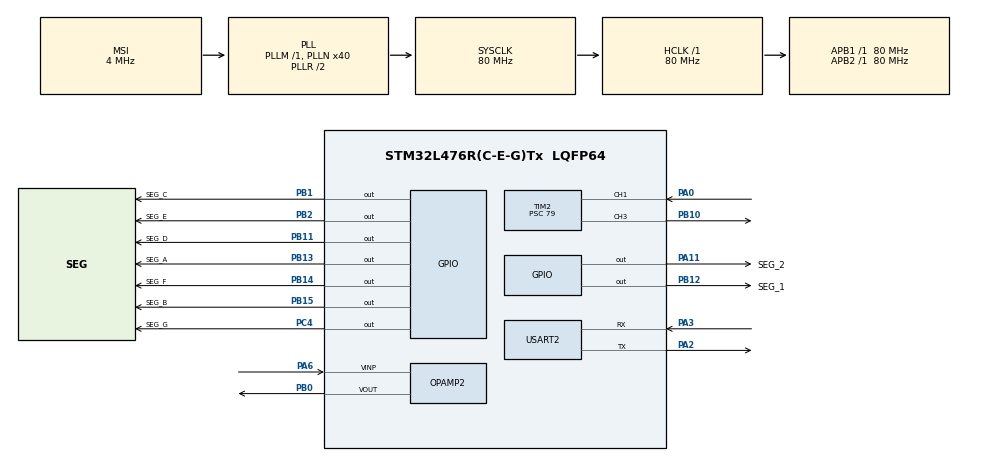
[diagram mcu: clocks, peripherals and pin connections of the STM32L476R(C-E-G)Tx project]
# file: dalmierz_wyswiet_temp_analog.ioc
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ADC1.Channel-2\#ChannelRegularConversion=ADC_CHANNEL_15
ADC1.ContinuousConvMode=ENABLE
ADC1.NbrOfConversionFlag=1
ADC1.OffsetNumber-2\#ChannelRegularConversion=ADC_OFFSET_NONE
ADC1.Overrun=ADC_OVR_DATA_OVERWRITTEN
ADC1.Rank-2\#ChannelRegularConversion=1
ADC1.SamplingTime-2\#ChannelRegularConversion=ADC_SAMPLETIME_640CYCLES_5
ADC1.master=1
Mcu.Family=STM32L4
Mcu.Name=STM32L476R(C-E-G)Tx
Mcu.Package=LQFP64
NVIC.PriorityGroup=NVIC_PRIORITYGROUP_4
NVIC.TIM2_IRQn=true\:10\:0\:true\:false\:true\:true\:true\:true
NVIC.TIM6_DAC_IRQn=true\:10\:0\:true\:false\:true\:true\:true\:true
OPAMP2.PgaGain=OPAMP_PGA_GAIN_4
OPAMP2.PowerSupplyRange=OPAMP_POWERSUPPLY_HIGH
PA0.Signal=S_TIM2_CH1
PA11.GPIO_Label=SEG_2
PA11.PinState=GPIO_PIN_SET
PA11.Signal=GPIO_Output
PA13\ (JTMS-SWDIO).Mode=Serial_Wire
PA13\ (JTMS-SWDIO).Signal=SYS_JTMS-SWDIO
PA14\ (JTCK-SWCLK).Mode=Serial_Wire
PA14\ (JTCK-SWCLK).Signal=SYS_JTCK-SWCLK
PA2.Mode=Asynchronous
PA2.Signal=USART2_TX
PA3.Mode=Asynchronous
PA3.Signal=USART2_RX
PA6.Mode=PGA Not Connected
PA6.Signal=OPAMP2_VINP
PB0.Signal=SharedAnalog_PB0
PB1.GPIO_Label=SEG_C
PB1.Signal=GPIO_Output
PB10.Signal=S_TIM2_CH3
PB11.GPIO_Label=SEG_D
PB11.Signal=GPIO_Output
PB12.GPIO_Label=SEG_1
PB12.PinState=GPIO_PIN_SET
PB12.Signal=GPIO_Output
PB13.GPIO_Label=SEG_A
PB13.Signal=GPIO_Output
PB14.GPIO_Label=SEG_F
PB14.Signal=GPIO_Output
PB15.GPIO_Label=SEG_B
PB15.Signal=GPIO_Output
PB2.GPIO_Label=SEG_E
PB2.Signal=GPIO_Output
PC4.GPIO_Label=SEG_G
PC4.Signal=GPIO_Output
ProjectManager.HeapSize=0x200
ProjectManager.StackSize=0x400
ProjectManager.TargetToolchain=STM32CubeIDE
RCC.ADCFreq_Value=32000000
RCC.AHBFreq_Value=80000000
RCC.APB1Freq_Value=80000000
RCC.APB1TimFreq_Value=80000000
RCC.APB2Freq_Value=80000000
RCC.APB2TimFreq_Value=80000000
RCC.CortexFreq_Value=80000000
RCC.HCLKFreq_Value=80000000
RCC.HSE_VALUE=8000000
RCC.HSI_VALUE=16000000
RCC.LSE_VALUE=32768
RCC.MSI_VALUE=4000000
RCC.PLLN=40
RCC.PLLSAI1N=16
RCC.SYSCLKFreq_VALUE=80000000
RCC.SYSCLKSource=RCC_SYSCLKSOURCE_PLLCLK
RCC.USBFreq_Value=32000000
RCC.VCOOutputFreq_Value=160000000
SH.S_TIM2_CH1.0=TIM2_CH1,Input_Capture1_from_TI1
SH.S_TIM2_CH3.0=TIM2_CH3,PWM Generation3 CH3
SH.SharedAnalog_PB0.0=ADC1_IN15
SH.SharedAnalog_PB0.1=OPAMP2_VOUT,PGA Not Connected
TIM2.Channel-Input_Capture1_from_TI1=TIM_CHANNEL_1
TIM2.Channel-Input_Capture2_from_TI1_63=TIM_CHANNEL_2
TIM2.Channel-PWM\ Generation3\ CH3=TIM_CHANNEL_3
TIM2.ICPolarity_CH1=TIM_INPUTCHANNELPOLARITY_RISING
TIM2.ICPolarity_CH2=TIM_INPUTCHANNELPOLARITY_FALLING
TIM2.Period=99999
TIM2.Prescaler=79
TIM2.Pulse-PWM\ Generation3\ CH3=10
TIM6.Period=99
TIM6.Prescaler=7999
USART2.VirtualMode-Asynchronous=VM_ASYNC
VP_ADC1_OPAMP2_OUT.Mode=IN15-OPAMP2-Single-Ended
VP_TIM2_VS_ClockSourceINT.Mode=Internal
VP_TIM2_VS_indirect_ch1.Mode=Input_Capture2_from_TI1_63
VP_TIM6_VS_ClockSourceINT.Mode=Enable_Timer
board=custom

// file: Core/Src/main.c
/* USER CODE BEGIN Header */
/**
  ******************************************************************************
  * @file           : main.c
  * @brief          : Main program body
  ******************************************************************************
  * @attention
  *
  * Copyright (c) 2024 STMicroelectronics.
  * All rights reserved.
  *
  * This software is licensed under terms that can be found in the LICENSE file
  * in the root directory of this software component.
  * If no LICENSE file comes with this software, it is provided AS-IS.
  *
  ******************************************************************************
  */
/* USER CODE END Header */
#include "main.h"
#include "adc.h"
#include "opamp.h"
#include "tim.h"
#include "usart.h"
#include "gpio.h"

/* USER CODE BEGIN Includes */
#include <stdio.h>

/* USER CODE END Includes */

void SystemClock_Config(void);

/* USER CODE BEGIN 0 */
static float calc_sound_speed(void)
{
	uint32_t adc_value = HAL_ADC_GetValue(&hadc1);
	float temp = adc_value * 330.0f / 4096.0f / 4.0f; //dzielenie przez 4 bo 4x od wzmacniacza
	printf("ADC = %lu, T = %.1f C, speed = %.1f m/s\n", adc_value, temp, 331.8f + 0.6f * temp);
	return 331.8f + 0.6f * temp;
}

int __io_putchar(int ch)
{
  if (ch == '\n') {
    __io_putchar('\r');
  }

  HAL_UART_Transmit(&huart2, (uint8_t*)&ch, 1, HAL_MAX_DELAY);

  return 1;
}

void HAL_TIM_PeriodElapsedCallback(TIM_HandleTypeDef *htim)
{
	if (htim == &htim6) {
		seg7_update();
	} else if (htim == &htim2) {
		uint32_t start = HAL_TIM_ReadCapturedValue(&htim2, TIM_CHANNEL_1);
		uint32_t stop = HAL_TIM_ReadCapturedValue(&htim2, TIM_CHANNEL_2);
		uint16_t distanse = 0;
		//seg7_show((stop - start) / 58); //58 dla prekości dzwięku w temperaturze pokojowej
		distanse = (stop - start) * calc_sound_speed() / 20000.0f;
		seg7_show(distanse);

	}
}

/* USER CODE END 0 */

int main(void)
{

  /* MCU Configuration--------------------------------------------------------*/

  /* Reset of all peripherals, Initializes the Flash interface and the Systick. */
  HAL_Init();

  /* Configure the system clock */
  SystemClock_Config();

  /* Initialize all configured peripherals */
  MX_GPIO_Init();
  MX_USART2_UART_Init();
  MX_TIM2_Init();
  MX_TIM6_Init();
  MX_OPAMP2_Init();
  MX_ADC1_Init();

  /* Infinite loop */
  /* USER CODE BEGIN WHILE */

  //czujnik ciśnienia
  /*
  HAL_TIM_IC_Start(&htim2, TIM_CHANNEL_1);
  HAL_TIM_IC_Start(&htim2, TIM_CHANNEL_2);
  HAL_TIM_PWM_Start(&htim2, TIM_CHANNEL_3);
  HAL_Delay(1000);

  while (1)
  {
  	uint32_t start = HAL_TIM_ReadCapturedValue(&htim2, TIM_CHANNEL_1);
  	uint32_t stop = HAL_TIM_ReadCapturedValue(&htim2, TIM_CHANNEL_2);
  	printf("%.1f cm\n", (stop - start) / 58.0f);
  	//58 odpowiada prędkości dzwięku w 344,8 m/s w powietrzu w temperaturze pokojowej (ok. 20 stopni C)
  	HAL_Delay(1000);
  	*/
  //HAL_TIM_Base_Start_IT(&htim6);

  //int value = 0;

  HAL_TIM_Base_Start_IT(&htim6);
  HAL_TIM_Base_Start_IT(&htim2);
  HAL_TIM_IC_Start(&htim2, TIM_CHANNEL_1);
  HAL_TIM_IC_Start(&htim2, TIM_CHANNEL_2);
  HAL_TIM_PWM_Start(&htim2, TIM_CHANNEL_3);

  HAL_ADCEx_Calibration_Start(&hadc1, ADC_SINGLE_ENDED);
  HAL_ADC_Start(&hadc1);

  HAL_OPAMP_SelfCalibrate(&hopamp2);
  HAL_OPAMP_Start(&hopamp2);
  while (1)
  {

    //seg7_show(value);
    //value++;
    //HAL_Delay(500);
    /* USER CODE END WHILE */

  }
}

void SystemClock_Config(void)
{
  RCC_OscInitTypeDef RCC_OscInitStruct = {0};
  RCC_ClkInitTypeDef RCC_ClkInitStruct = {0};

  /** Configure the main internal regulator output voltage
  */
  if (HAL_PWREx_ControlVoltageScaling(PWR_REGULATOR_VOLTAGE_SCALE1) != HAL_OK)
  {
    Error_Handler();
  }

  /** Initializes the RCC Oscillators according to the specified parameters
  * in the RCC_OscInitTypeDef structure.
  */
  RCC_OscInitStruct.OscillatorType = RCC_OSCILLATORTYPE_MSI;
  RCC_OscInitStruct.MSIState = RCC_MSI_ON;
  RCC_OscInitStruct.MSICalibrationValue = 0;
  RCC_OscInitStruct.MSIClockRange = RCC_MSIRANGE_6;
  RCC_OscInitStruct.PLL.PLLState = RCC_PLL_ON;
  RCC_OscInitStruct.PLL.PLLSource = RCC_PLLSOURCE_MSI;
  RCC_OscInitStruct.PLL.PLLM = 1;
  RCC_OscInitStruct.PLL.PLLN = 40;
  RCC_OscInitStruct.PLL.PLLP = RCC_PLLP_DIV7;
  RCC_OscInitStruct.PLL.PLLQ = RCC_PLLQ_DIV2;
  RCC_OscInitStruct.PLL.PLLR = RCC_PLLR_DIV2;
  if (HAL_RCC_OscConfig(&RCC_OscInitStruct) != HAL_OK)
  {
    Error_Handler();
  }

  /** Initializes the CPU, AHB and APB buses clocks
  */
  RCC_ClkInitStruct.ClockType = RCC_CLOCKTYPE_HCLK|RCC_CLOCKTYPE_SYSCLK
                              |RCC_CLOCKTYPE_PCLK1|RCC_CLOCKTYPE_PCLK2;
  RCC_ClkInitStruct.SYSCLKSource = RCC_SYSCLKSOURCE_PLLCLK;
  RCC_ClkInitStruct.AHBCLKDivider = RCC_SYSCLK_DIV1;
  RCC_ClkInitStruct.APB1CLKDivider = RCC_HCLK_DIV1;
  RCC_ClkInitStruct.APB2CLKDivider = RCC_HCLK_DIV1;

  if (HAL_RCC_ClockConfig(&RCC_ClkInitStruct, FLASH_LATENCY_4) != HAL_OK)
  {
    Error_Handler();
  }
}

void Error_Handler(void)
{
  __disable_irq();
  while (1)
  {
  }
}
